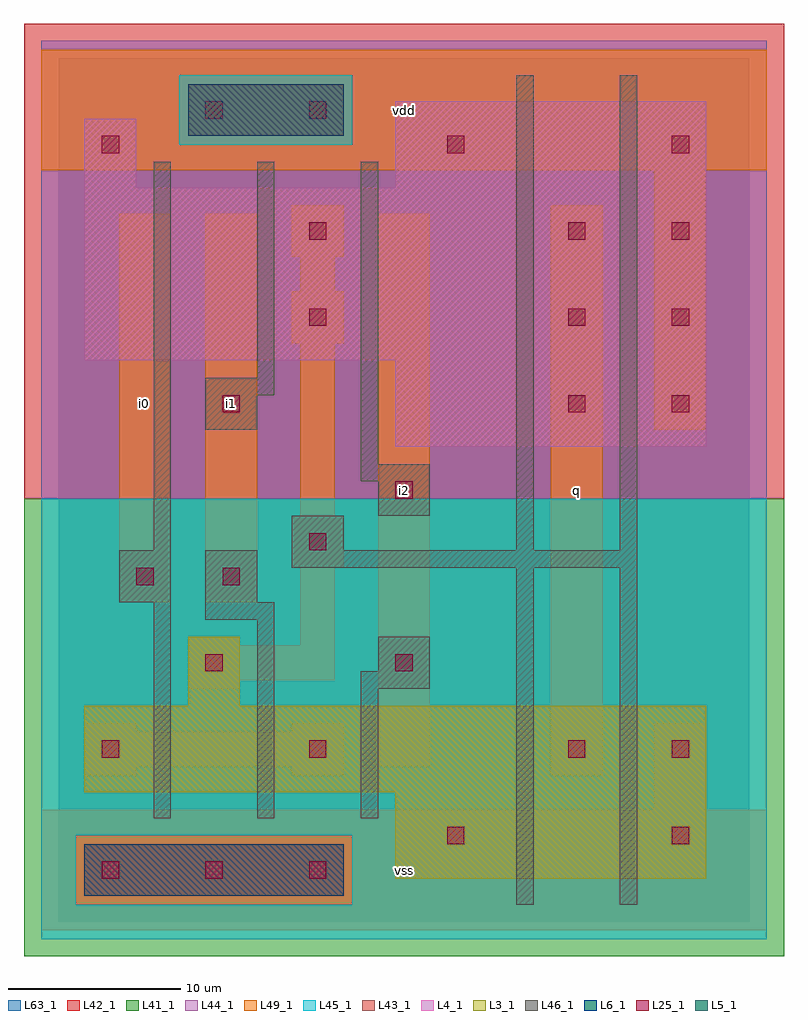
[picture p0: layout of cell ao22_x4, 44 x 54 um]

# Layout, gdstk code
import gdstk
lib = gdstk.Library(unit=1e-6, precision=1e-09)
def R(c, l, rs):  # rectangles x0, y0, x1, y1
    for r in rs: c.add(gdstk.rectangle(r[:2], r[2:], *l))
def A(c, l, x, y, w, h, nx, ny, dx, dy):  # array of equal rectangles
    R(c, l, [(x+i*dx, y+j*dy, x+i*dx+w, y+j*dy+h) for i in range(nx) for j in range(ny)])
L3_1 = (3, 1)
L4_1 = (4, 1)
L5_1 = (5, 1)
L6_1 = (6, 1)
L25_1 = (25, 1)
L41_1 = (41, 1)
L42_1 = (42, 1)
L43_1 = (43, 1)
L44_1 = (44, 1)
L45_1 = (45, 1)
L46_1 = (46, 1)
L49_1 = (49, 1)
L63_1 = (63, 1)

ao22_x4 = lib.new_cell('ao22_x4')
R(ao22_x4, L3_1, [(19.5,2.5,37.5,7.5), (1.5,7.5,37.5,12.5), (7.5,12.5,10.5,16.5)])
R(ao22_x4, L4_1, [(19.5,27.5,37.5,32.5), (1.5,32.5,37.5,42.5), (1.5,42.5,4.5,46.5), (19.5,42.5,37.5,47.5)])
R(ao22_x4, L5_1, [(7.5,45.5,16.5,48.5)])
R(ao22_x4, L6_1, [(1.5,1.5,16.5,4.5)])
A(ao22_x4, L25_1, 2.5, 2.5, 1, 1, 3, 1, 6, 0)
A(ao22_x4, L25_1, 29.5, 29.5, 1, 1, 1, 3, 0, 5)
A(ao22_x4, L25_1, 35.5, 29.5, 1, 1, 1, 4, 0, 5)
R(ao22_x4, L25_1, [(22.5,4.5,23.5,5.5), (35.5,4.5,36.5,5.5), (2.5,9.5,3.5,10.5), (14.5,9.5,15.5,10.5), (29.5,9.5,30.5,10.5), (35.5,9.5,36.5,10.5), (8.5,14.5,9.5,15.5), (19.5,14.5,20.5,15.5), (4.5,19.5,5.5,20.5), (9.5,19.5,10.5,20.5), (14.5,21.5,15.5,22.5), (19.5,24.5,20.5,25.5), (9.5,29.5,10.5,30.5), (14.5,34.5,15.5,35.5), (14.5,39.5,15.5,40.5), (2.5,44.5,3.5,45.5), (22.5,44.5,23.5,45.5), (8.5,46.5,9.5,47.5), (14.5,46.5,15.5,47.5)])
R(ao22_x4, L41_1, [(-2,-2,42,24.5)])
R(ao22_x4, L42_1, [(-2,24.5,42,52)])
R(ao22_x4, L43_1, [(1.5,1.5,16.5,4.5), (19.5,2.5,37.5,7.5), (1.5,7.5,37.5,12.5), (7.5,12.5,10.5,16.5), (19.5,27.5,37.5,32.5), (1.5,32.5,37.5,42.5), (1.5,42.5,4.5,46.5), (19.5,42.5,37.5,47.5), (7.5,45.5,16.5,48.5)])
R(ao22_x4, L44_1, [(1,1,17,5), (-1,24.5,41,45), (-1,45,7,49), (17,45,41,49), (-1,49,41,51)])
R(ao22_x4, L45_1, [(-1,-1,41,1), (-1,1,1,5), (17,1,41,5), (-1,5,41,24.5), (7,45,17,49)])
R(ao22_x4, L46_1, [(26.5,1,27.5,20.5), (32.5,1,33.5,20.5), (5.5,6,6.5,18.5), (11.5,6,12.5,17.5), (17.5,6,18.5,13.5), (17.5,13.5,21.5,14.5), (18.5,14.5,21.5,16.5), (8.5,17.5,12.5,18.5), (3.5,18.5,6.5,21.5), (8.5,18.5,11.5,21.5), (13.5,20.5,33.5,21.5), (5.5,21.5,6.5,44), (13.5,21.5,16.5,23.5), (26.5,21.5,27.5,49), (32.5,21.5,33.5,49), (18.5,23.5,21.5,25.5), (17.5,25.5,21.5,26.5), (17.5,26.5,18.5,44), (8.5,28.5,11.5,30.5), (8.5,30.5,12.5,31.5), (11.5,31.5,12.5,44)])
R(ao22_x4, L49_1, [(-1,-0.5,41,6.5), (34.5,6.5,37.5,11.5), (1.5,8.5,4.5,9), (13.5,8.5,16.5,9), (28.5,8.5,31.5,41.5), (1.5,9,16.5,11), (18.5,9,21.5,41), (1.5,11,4.5,11.5), (13.5,11,16.5,11.5), (7.5,13.5,10.5,14), (7.5,14,16,16), (7.5,16,10.5,16.5), (14,16,16,20.5), (3.5,18.5,6.5,41), (8.5,18.5,11.5,41), (13.5,20.5,16.5,23.5), (14,23.5,16,33.5), (34.5,28.5,37.5,43.5), (13.5,33.5,16.5,36.5), (14,36.5,16,38.5), (13.5,38.5,16.5,41.5), (-1,43.5,41,50.5)])
R(ao22_x4, L63_1, [(0,0,40,50)])
ao22_x4.add(gdstk.Label('i0', (5,30), layer=49, texttype=1))
ao22_x4.add(gdstk.Label('i0', (5,30), layer=49, texttype=1))
ao22_x4.add(gdstk.Label('i1', (10,30), layer=49, texttype=1))
ao22_x4.add(gdstk.Label('i1', (10,30), layer=49, texttype=1))
ao22_x4.add(gdstk.Label('vss', (20,3), layer=49, texttype=1))
ao22_x4.add(gdstk.Label('vss', (20,3), layer=49, texttype=1))
ao22_x4.add(gdstk.Label('q', (30,25), layer=49, texttype=1))
ao22_x4.add(gdstk.Label('q', (30,25), layer=49, texttype=1))
ao22_x4.add(gdstk.Label('i2', (20,25), layer=49, texttype=1))
ao22_x4.add(gdstk.Label('i2', (20,25), layer=49, texttype=1))
ao22_x4.add(gdstk.Label('vdd', (20,47), layer=49, texttype=1))
ao22_x4.add(gdstk.Label('vdd', (20,47), layer=49, texttype=1))

lib.write_gds('ao22_x4.gds')
